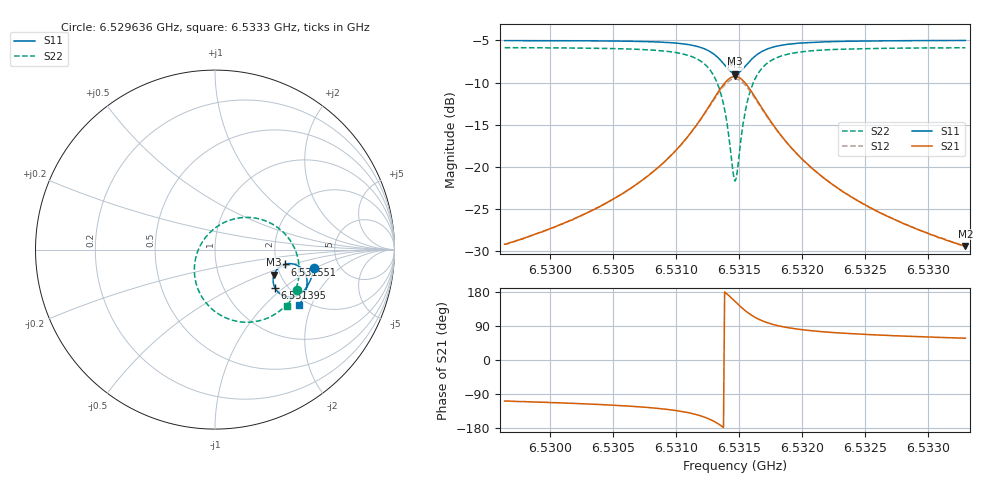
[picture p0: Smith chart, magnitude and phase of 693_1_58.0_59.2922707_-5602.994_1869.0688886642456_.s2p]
#  HZ  S  RI  R  50.00
! Rohde & Schwarz Vector Network Analyzer
! Rohde-Schwarz,ZNB20-2Port,1311601062101988,3.16
! Created: UTC 3/21/2024, 1:21:20 AM
! freq[Hz]  re:S11  im:S11  re:S21  im:S21  re:S12  im:S12  re:S22  im:S22
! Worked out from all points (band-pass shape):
!   401 points, 6.529636 GHz to 6.5333 GHz, reference 50 ohm
!   highest |S21| = -9.27 dB at 6.531468 GHz (marker M1); lowest = -29.4 dB at 6.5333 GHz (marker M2)
!   |S21| within 3 dB of the highest: 6.531285 GHz to 6.531651 GHz (366.3 kHz wide, 0.00561 % of centre)
!   lowest |S11| = -8.9 dB at 6.531468 GHz (marker M3), VSWR 2.11, Z = 93 - j29.6 ohm
!   |S11| at or under -10 dB: nowhere
!   |S22| runs from -21.7 to -5.9 dB; largest |S21 - S12| = 0.015
!   S11 on the Smith chart (normalised r, x): 6.529636 GHz: 3.23, -0.97; 6.531395 GHz: 1.73, -0.87; 6.531551 GHz: 2.21, -0.43; 6.5333 GHz: 1.82, -1.64
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6.5296364e9  0.5508 -0.1028  -0.011 -0.0331  -0.0116 -0.0329  0.4579 -0.2223
6.5302501e9  0.5371 -0.155  -0.0222 -0.0468  -0.0234 -0.0462  0.4209 -0.2806
6.530589e9  0.5237 -0.1878  -0.0364 -0.0607  -0.0382 -0.0597  0.3838 -0.322
6.5308638e9  0.5041 -0.219  -0.0618 -0.079  -0.0642 -0.0771  0.3268 -0.3642
6.5310836e9  0.4713 -0.2486  -0.1106 -0.099  -0.1137 -0.0948  0.2294 -0.4002
6.5312393e9  0.4199 -0.2639  -0.1909 -0.0996  -0.1928 -0.0911  0.0843 -0.3897
6.5313309e9  0.3689 -0.2502  -0.269 -0.0593  -0.2661 -0.0475  -0.0422 -0.3058
6.5313676e9  0.3471 -0.232  -0.3009 -0.0217  -0.2943 -0.00981  -0.0877 -0.2363
6.531395e9  0.3333 -0.2117  -0.3189 0.0171  -0.3097 0.0278  -0.1099 -0.1683
6.53145e9  0.3245 -0.1578  -0.3224 0.1141  -0.309 0.1193  -0.0961 -0.00851
6.5314683e9  0.3294 -0.1387  -0.3109 0.147  -0.2971 0.1498  -0.0706 0.0426
6.5314866e9  0.338 -0.1211  -0.2927 0.1769  -0.2795 0.1773  -0.0358 0.0876
6.5315233e9  0.3641 -0.0941  -0.2433 0.2219  -0.2325 0.2186  0.0531 0.1522
6.5315507e9  0.3874 -0.0827  -0.2013 0.2405  -0.1927 0.236  0.1256 0.1749
6.5315782e9  0.4106 -0.078  -0.1605 0.2474  -0.1544 0.2424  0.1939 0.179
6.5316149e9  0.4376 -0.0806  -0.1137 0.2433  -0.1097 0.2388  0.2717 0.1636
6.5317065e9  0.4819 -0.1046  -0.0387 0.2061  -0.037 0.2036  0.3922 0.0847
6.5318439e9  0.507 -0.1444  0.00502 0.1506  0.00625 0.1497  0.4557 -0.0254
6.532082e9  0.513 -0.1917  0.0219 0.0956  0.0232 0.0952  0.4685 -0.137
6.5323385e9  0.507 -0.2254  0.0235 0.0665  0.0245 0.0662  0.4566 -0.2017
6.5326957e9  0.4947 -0.2604  0.0215 0.0456  0.0225 0.0453  0.4352 -0.256
6.5333002e9  0.4702 -0.3072  0.0183 0.0287  0.0187 0.0283  0.3999 -0.3138
